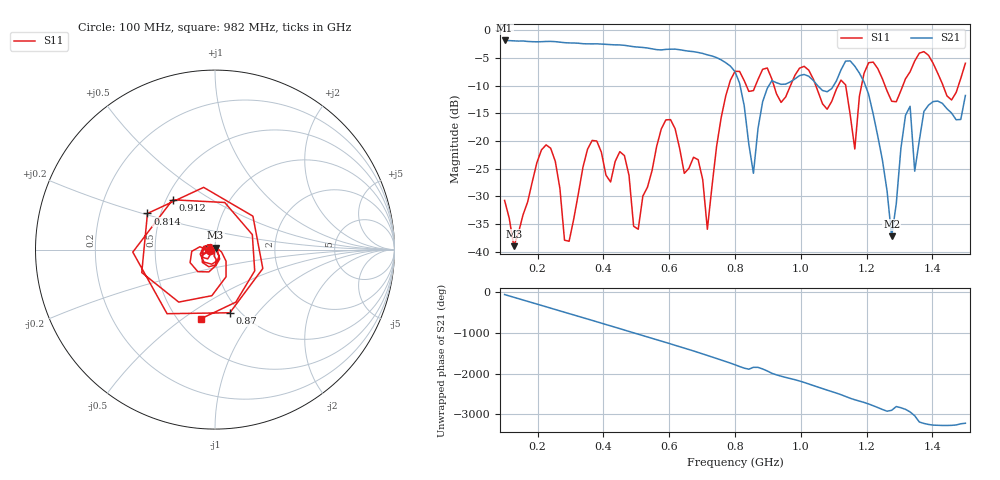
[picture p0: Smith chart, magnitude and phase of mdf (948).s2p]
! NanoVNA-App
! Date: 2025-09-25 15:45:48
! Start: 100MHz Stop: 1,5GHz Points: 101
! S-Parameter data: F S11 S21 S12 S22
# Hz S RI R 50
!  Frequency  S11_Real  S11_Imag  S21_Real  S21_Imag  S12_Real  S12_Imag  S22_Real  S22_Imag
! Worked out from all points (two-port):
!   101 points, 100 MHz to 1.5 GHz, reference 50 ohm
!   highest |S21| = -1.80 dB at 100 MHz (marker M1); lowest = -37.2 dB at 1.276 GHz (marker M2)
!   |S21| within 3 dB of the highest: start of sweep to 739.4 MHz
!   lowest |S11| = -39.0 dB at 128 MHz (marker M3), VSWR 1.02, Z = 50.3 + j1.08 ohm
!   |S11| at or under -10 dB: start of sweep to 780.9 MHz; 918.5 MHz to 968.3 MHz (49.8 MHz wide, 5.28 % of centre); 1.046 GHz to 1.113 GHz (67.53 MHz wide, 6.26 % of centre) (the widest 3 of 7)
!   S12 and S22 are empty: the file has one direction only
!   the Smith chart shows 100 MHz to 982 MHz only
!   S11 on the Smith chart (normalised r, x): 100 MHz: 0.94, -0.01; 814 MHz: 0.42, +0.21; 870 MHz: 0.90, -0.73; 912 MHz: 0.54, +0.35; 982 MHz: 0.64, -0.59
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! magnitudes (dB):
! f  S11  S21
! 100 MHz  -30.7  -1.8
! 128 MHz  -39.0  -1.9
! 212 MHz  -21.6  -2.0
! 282 MHz  -37.9  -2.2
! 338 MHz  -24.7  -2.4
! 464 MHz  -22.6  -2.7
! 506 MHz  -35.9  -3.0
! 576 MHz  -17.8  -3.5
! 716 MHz  -35.9  -4.4
! 800 MHz  -7.4  -7.4
! 814 MHz  -7.4  -9.5
! 856 MHz  -10.9  -25.8
! 870 MHz  -8.8  -17.7
! 912 MHz  -8.8  -9.1
! 982 MHz  -8.1  -8.8
! 1.038 GHz  -8.8  -9.0
! 1.164 GHz  -21.4  -6.4
! 1.192 GHz  -7.8  -9.3
! 1.276 GHz  -12.8  -37.2
! 1.332 GHz  -7.5  -13.7
! 1.346 GHz  -5.5  -25.4
! 1.5 GHz  -5.9  -11.7
